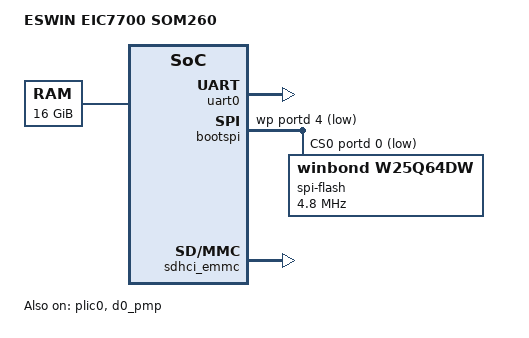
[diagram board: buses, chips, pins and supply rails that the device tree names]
// SPDX-License-Identifier: GPL-2.0
/*
 * Device Tree file for Eswin EIC7700 SOM260 SoC.
 *
 * Copyright 2024, Beijing ESWIN Computing Technology Co., Ltd.. All rights reserved.
 *
 * This program is free software: you can redistribute it and/or modify
 * it under the terms of the GNU General Public License as published by
 * the Free Software Foundation, version 2.
 *
 * This program is distributed in the hope that it will be useful,
 * but WITHOUT ANY WARRANTY; without even the implied warranty of
 * MERCHANTABILITY or FITNESS FOR A PARTICULAR PURPOSE.  See the
 * GNU General Public License for more details.
 *
 * You should have received a copy of the GNU General Public License
 * along with this program.  If not, see <https://www.gnu.org/licenses/>.
 *
 * Authors: Xiang Xu <xuxiang@eswincomputing.com>
 */

#include <dt-bindings/gpio/gpio.h>
#include <dt-bindings/soc/eswin-pmp.h>
#include "eic770x.dtsi"
/ {
	#address-cells = <2>;
	#size-cells = <2>;
	model = "ESWIN EIC7700 SOM260";
	compatible = "eswin,eic7700";

	aliases {
		serial0 = &uart0;
		gpio0 = &gpio0;
		spi0 = &bootspi;
	};

	config {
		power-gpios = <&portc 30 GPIO_ACTIVE_HIGH>;
	};

	chosen {
		stdout-path = "serial0";
	};

	memory@80000000 {
		device_type = "memory";
		reg = <0x0 0x80000000 0x4 0x00000000>;
	};
	reserved-memory {
		#address-cells = <2>;
		#size-cells = <2>;
		ranges;

		display_reserved: region@E0000000 {
			reg = <0x0 0xE0000000 0x0 0x2000000>;
			no-map;
		};

		lpcpu_reserved: lpcpures@DFFF0000 {
			reg = <0x00 0xDFFF0000 0x00 0x00010000>;
			no-map;
		};
	};
	soc {
		#address-cells = <2>;
		#size-cells = <2>;
		compatible = "SiFive,FU800-soc", "fu800-soc", "sifive-soc", "simple-bus";
		ranges;
	};
};
&cpu0 {
	status = "okay";
};
&cpu1 {
	status = "okay";
};
&cpu2 {
	status = "okay";
};
&cpu3 {
	status = "okay";
};
&plic0{
	status = "okay";
};
&d0_mbox {
	status = "okay";
};
&d0_mbox_srvc {
	status = "okay";
};
&d0_mbox1 {
	status = "okay";
};
&d0_mbox_srvc1 {
	status = "okay";
};
&d0_pmp {
	status = "okay";
};
&uart0 {
	status = "okay";
};

&bootspi {
	status = "okay";
	cs-gpios = <&portd 0 GPIO_ACTIVE_LOW>;
	wp-gpios = <&portd 4 GPIO_ACTIVE_LOW>;
	spi-flash@0 {
		reg = <0>;
		compatible = "winbond,w25q64dw",
			"jedec,spi-nor";
		spi-max-frequency = <4800000>;
	};
};

&sdhci_emmc {
	status = "okay";
	delay_code = <0x55>;
	drive-impedance-ohm = <50>;
	enable-cmd-pullup;
	enable-data-pullup;
	mmc-hs200-1_8v;
	mmc-hs400-1_8v;
};

&gpio0 {
	status = "okay";
};

&pinctrl {
	status = "okay";
	pinctrl-names = "default";
	pinctrl-0 = <&pinctrl_gpio94_default>;
};
